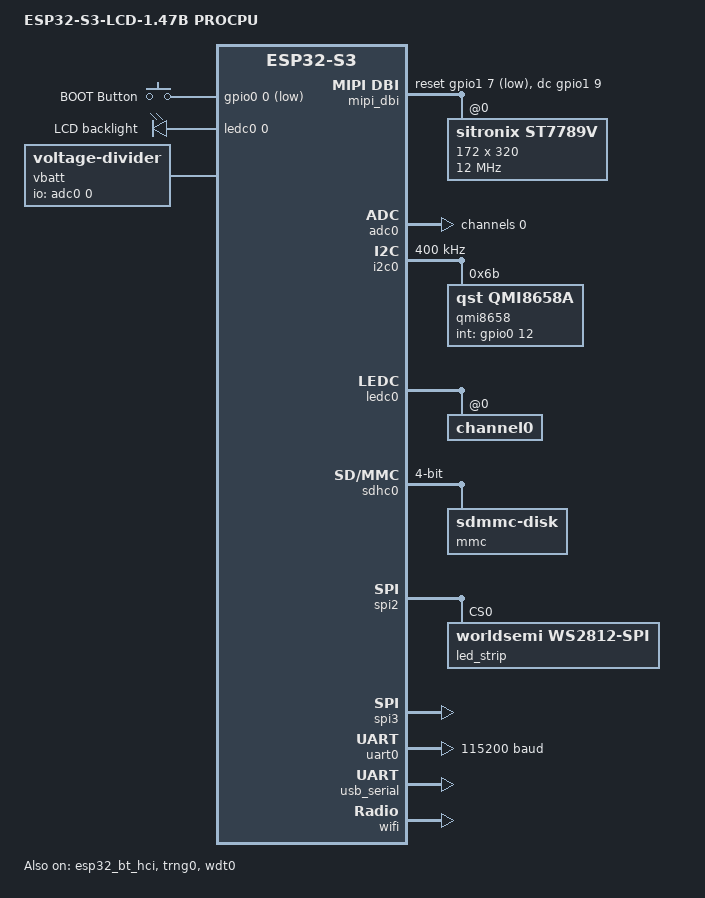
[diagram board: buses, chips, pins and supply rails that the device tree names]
/*
 * SPDX-FileCopyrightText: Copyright The Zephyr Project Contributors
 * SPDX-License-Identifier: Apache-2.0
 */

/dts-v1/;
#include <espressif/esp32s3/esp32s3_r8.dtsi>
#include <espressif/partitions_0x0_amp_16M.dtsi>
#include "esp32s3_lcd_1_47b-pinctrl.dtsi"
#include <zephyr/dt-bindings/adc/adc.h>
#include <zephyr/dt-bindings/display/panel.h>
#include <zephyr/dt-bindings/input/input-event-codes.h>
#include <zephyr/dt-bindings/led/led.h>
#include <zephyr/dt-bindings/led/worldsemi_ws2812c.h>
#include <zephyr/dt-bindings/pwm/pwm.h>

/ {
	model = "ESP32-S3-LCD-1.47B PROCPU";
	compatible = "waveshare,esp32-s3-lcd-1.47b";

	aliases {
		led-strip = &led_strip;
		pwm-led0 = &pwm_backlight;
		sdhc0 = &sdhc0;
		sw0 = &button0;
		watchdog0 = &wdt0;
	};

	chosen {
		zephyr,sram = &sram1;
		zephyr,console = &usb_serial;
		zephyr,shell-uart = &usb_serial;
		zephyr,flash = &flash0;
		zephyr,code-partition = &slot0_partition;
		zephyr,display = &st7789v;
		zephyr,bt-hci = &esp32_bt_hci;
	};

	buttons {
		compatible = "gpio-keys";

		button0: button_0 {
			gpios = <&gpio0 0 (GPIO_PULL_UP | GPIO_ACTIVE_LOW)>;
			label = "BOOT Button";
			zephyr,code = <INPUT_KEY_0>;
		};
	};

	pwmleds {
		compatible = "pwm-leds";

		/*
		 * GPIO46 drives the gate of a low-side N-FET (SI2302) switching
		 * the backlight LED cathode: 100% duty = full brightness. The
		 * gate has a 10k pull-down, so the backlight is off at reset and
		 * stays off until this channel is driven.
		 */
		pwm_backlight: pwm_backlight {
			label = "LCD backlight";
			pwms = <&ledc0 0 PWM_HZ(4000) PWM_POLARITY_NORMAL>;
		};
	};

	/* VBAT -> 200k (R1) / 100k (R4) 1% divider -> GPIO1 (ADC1 channel 0) */
	vbatt: vbatt {
		compatible = "voltage-divider";
		io-channels = <&adc0 0>;
		output-ohms = <100000>;
		full-ohms = <(200000 + 100000)>;
		skip-calibration; /* ESP32 ADC does not support calibration */
	};

	mipi_dbi {
		compatible = "zephyr,mipi-dbi-spi";
		spi-dev = <&spi3>;
		dc-gpios = <&gpio1 9 GPIO_ACTIVE_HIGH>;   /* GPIO41 */
		reset-gpios = <&gpio1 7 GPIO_ACTIVE_LOW>; /* GPIO39 */
		write-only;
		#address-cells = <1>;
		#size-cells = <0>;

		/*
		 * 1.47" 172x320 IPS panel with an ST7789T-class controller. The
		 * panel glass is narrower than the controller RAM, hence the
		 * 34 pixel column offset. Voltage/gamma values follow the panel
		 * init sequence in Waveshare's shipped driver (Vernon_ST7789T.c);
		 * ram-param keeps the Zephyr display byte order instead of the
		 * vendor's little-endian ESP-IDF DMA setting.
		 */
		st7789v: st7789v@0 {
			compatible = "sitronix,st7789v";
			reg = <0>;
			mipi-max-frequency = <12000000>;
			mipi-mode = "MIPI_DBI_MODE_SPI_4WIRE";
			pixel-format = <PANEL_PIXEL_FORMAT_RGB_565>;
			width = <172>;
			height = <320>;
			x-offset = <34>;
			y-offset = <0>;
			mdac = <0x00>;
			gctrl = <0x75>;
			vcom = <0x1a>;
			lcm = <0x80>;
			vrhs = <0x13>;
			vdvs = <0x20>;
			porch-param = [0c 0c 00 33 33];
			pwctrl1-param = [a4 a1];
			pvgam-param = [d0 0d 14 0d 0d 09 38 44 4e 3a 17 18 2f 30];
			nvgam-param = [d0 09 0f 08 07 14 37 44 4d 38 15 16 2c 2e];
			ram-param = [00 f0];
		};
	};
};

&adc0 {
	status = "okay";
	#address-cells = <1>;
	#size-cells = <0>;

	channel@0 {
		reg = <0>;
		zephyr,gain = "ADC_GAIN_1_4";
		zephyr,reference = "ADC_REF_INTERNAL";
		zephyr,acquisition-time = <ADC_ACQ_TIME_DEFAULT>;
		zephyr,resolution = <12>;
	};
};

&esp32_bt_hci {
	status = "okay";
};

&flash0 {
	reg = <0x0 DT_SIZE_M(16)>;
	ranges = <0x0 0x0 DT_SIZE_M(16)>;
};

&gpio0 {
	status = "okay";
};

&gpio1 {
	status = "okay";
};

&i2c0 {
	status = "okay";
	clock-frequency = <I2C_BITRATE_FAST>;
	pinctrl-0 = <&i2c0_default>;
	pinctrl-names = "default";

	/*
	 * QST QMI8658 6-axis IMU. SA0 is tied to ground, so the device
	 * responds at 0x6b. Data-ready is wired to INT2 (GPIO12); INT1
	 * (GPIO13) is also routed to the SoC but unused here.
	 */
	qmi8658: qmi8658a@6b {
		compatible = "qst,qmi8658a";
		reg = <0x6b>;
		int-gpios = <&gpio0 12 GPIO_ACTIVE_HIGH>;
		int-pin = <2>;
	};
};

&ledc0 {
	status = "okay";
	pinctrl-0 = <&ledc0_default>;
	pinctrl-names = "default";
	#address-cells = <1>;
	#size-cells = <0>;

	channel0@0 {
		reg = <0x0>;
		timer = <0>;
	};
};

/* microSD (TF) slot wired for SDMMC; all six lines have 10k pull-ups */
&sdhc0 {
	status = "okay";
	pinctrl-0 = <&sdhc0_default>;
	pinctrl-names = "default";
	max-bus-freq = <DT_FREQ_M(40)>;
	bus-width = <4>;

	mmc {
		compatible = "zephyr,sdmmc-disk";
		disk-name = "SD";
		status = "okay";
	};
};

&spi2 {
	status = "okay";
	#address-cells = <1>;
	#size-cells = <0>;
	pinctrl-0 = <&spim2_ws2812_led>;
	pinctrl-names = "default";
	line-idle-low;

	/* Single on-board WS2812B-0807 RGB LED, driven by SPI2 MOSI (GPIO38) */
	led_strip: ws2812@0 {
		compatible = "worldsemi,ws2812-spi";
		reg = <0>;
		spi-max-frequency = <WS2812C_SPI_FREQ>;
		chain-length = <1>;
		color-mapping = <LED_COLOR_ID_GREEN>,
				<LED_COLOR_ID_RED>,
				<LED_COLOR_ID_BLUE>;
		spi-one-frame = <WS2812C_ONE_FRAME>;
		spi-zero-frame = <WS2812C_ZERO_FRAME>;
	};
};

/* LCD bus */
&spi3 {
	status = "okay";
	#address-cells = <1>;
	#size-cells = <0>;
	pinctrl-0 = <&spim3_default>;
	pinctrl-names = "default";
};

&trng0 {
	status = "okay";
};

/* TXD/RXD solder pads (no USB-UART bridge on this board) */
&uart0 {
	status = "okay";
	current-speed = <115200>;
	pinctrl-0 = <&uart0_default>;
	pinctrl-names = "default";
};

&usb_serial {
	status = "okay";
};

zephyr_udc0: &usb_otg {};

&wdt0 {
	status = "okay";
};

&wifi {
	status = "okay";
};
